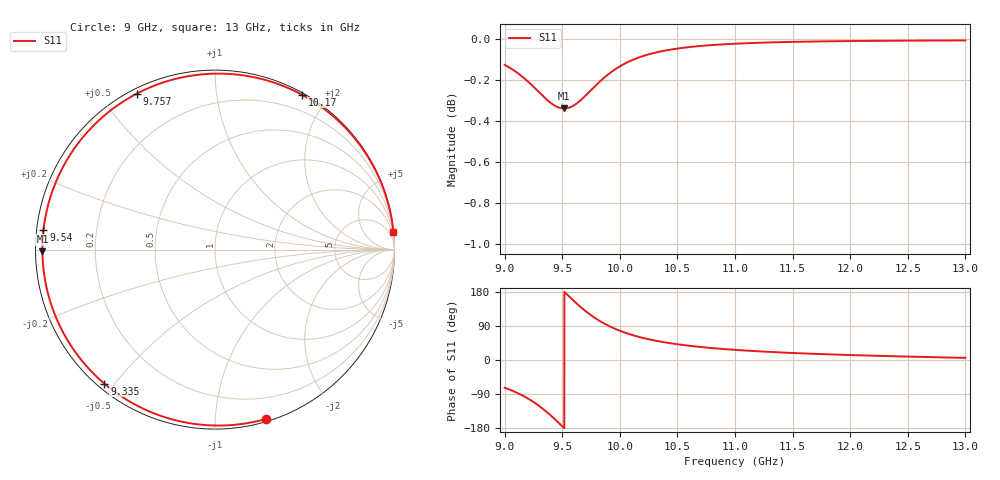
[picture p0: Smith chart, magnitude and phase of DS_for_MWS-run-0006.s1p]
! TOUCHSTONE file generated by CST DESIGN STUDIO
! Date and time: Tue Feb  4 13:45:14 2025
! Project name: C:\Work\MatlabApps\UnitCellOptimizationMatlab\CST\unitcell.cst
! Tree item: Tasks\Sweep1\SPara1\S-Parameters
! Header version: 2024
! Port assignment regex: !\s*Touchstone port\s*([0-9]+)\s*=\s*(CST MWS port|CST DES external port|CST DES block port)\s*(.+)\s* \(\"(.*)\"\)(\s*mode\s*([0-9]+))?.*
! Touchstone port assignment:
! Touchstone port 1 = CST DES external port 1 ("")
# GHz S MA R 50
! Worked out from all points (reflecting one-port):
!   4001 points, 9 GHz to 13 GHz, reference 50 ohm
!   lowest |S11| = -0.3 dB at 9.516 GHz (marker M1), VSWR 51.21, Z = 0.976 - j0.268 ohm
!   phase of S11 starts at -73 deg and turns -281 deg over the sweep
!   S11 on the Smith chart (normalised r, x): 9 GHz: 0.02, -1.35; 9.335 GHz: 0.02, -0.47; 9.54 GHz: 0.02, +0.06; 9.757 GHz: 0.02, +0.62; 10.17 GHz: 0.02, +1.71; 13 GHz: 0, +20
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9  0.9855 -73.2
9.091  0.982 -84.3
9.195  0.9768 -100.3
9.268  0.9724 -114.4
9.335  0.9683 -129.5
9.38  0.9657 -140.9
9.426  0.9636 -153.3
9.464  0.9624 -164.2
9.5  0.9618 -174.7
9.516  0.9617 -179.4
9.54  0.9618 173.5
9.594  0.9631 157.9
9.654  0.9658 141.4
9.705  0.9688 128.5
9.757  0.972 116.7
9.808  0.9752 106.3
9.863  0.9783 96.5
10  0.9846 77.2
10.081  0.9873 68.5
10.169  0.9896 60.7
10.32  0.9924 50.4
10.5  0.9945 41.5
10.722  0.9961 33.7
11  0.9972 26.7
11.5  0.9982 18.5
12  0.9987 13.1
12.5  0.9989 9.0
13  0.999 5.6
